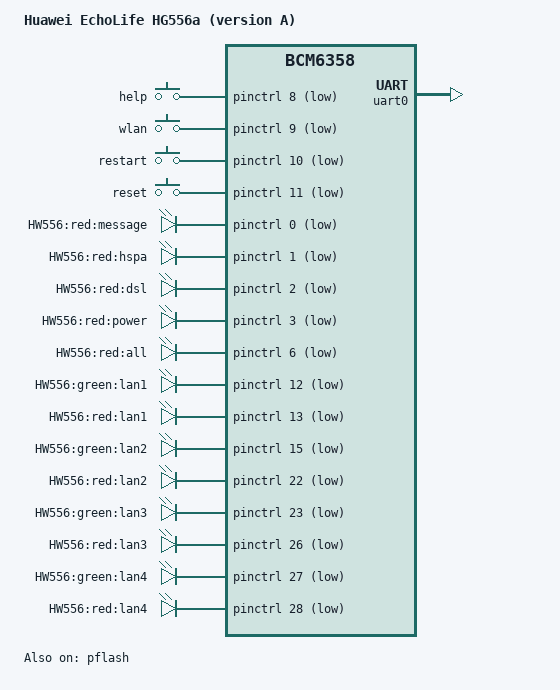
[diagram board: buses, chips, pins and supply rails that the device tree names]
/dts-v1/;

#include "bcm6358.dtsi"

#include <dt-bindings/input/input.h>

/ {
	model = "Huawei EchoLife HG556a (version A)";
	compatible = "huawei,echolife-hg556a-a", "brcm,bcm6358";

	aliases {
		led-boot = &led_power_red;
		led-failsafe = &led_power_red;
		led-running = &led_power_red;
		led-upgrade = &led_power_red;
	};

	chosen {
		bootargs = "rootfstype=squashfs,jffs2 noinitrd console=ttyS0,115200";
		stdout-path = "serial0:115200n8";
	};

	keys {
		compatible = "gpio-keys-polled";
		#address-cells = <1>;
		#size-cells = <0>;
		poll-interval = <20>;

		help {
			label = "help";
			gpios = <&pinctrl 8 1>;
			linux,code = <KEY_HELP>;
			debounce-interval = <60>;
		};

		wlan {
			label = "wlan";
			gpios = <&pinctrl 9 1>;
			linux,code = <KEY_WLAN>;
			debounce-interval = <60>;
		};

		restart {
			label = "restart";
			gpios = <&pinctrl 10 1>;
			linux,code = <KEY_RESTART>;
			debounce-interval = <60>;
		};

		reset {
			label = "reset";
			gpios = <&pinctrl 11 1>;
			linux,code = <KEY_CONFIG>;
			debounce-interval = <60>;
		};
	};

	leds {
		compatible = "gpio-leds";

		message_red {
			label = "HW556:red:message";
			gpios = <&pinctrl 0 1>;
		};
		hspa_red {
			label = "HW556:red:hspa";
			gpios = <&pinctrl 1 1>;
		};
		dsl_red {
			label = "HW556:red:dsl";
			gpios = <&pinctrl 2 1>;
		};
		led_power_red: power_red {
			label = "HW556:red:power";
			gpios = <&pinctrl 3 1>;
			default-state = "on";
		};
		all_red {
			label = "HW556:red:all";
			gpios = <&pinctrl 6 1>;
			default-state = "on";
		};
		lan1_green {
			label = "HW556:green:lan1";
			gpios = <&pinctrl 12 1>;
		};
		lan1_red {
			label = "HW556:red:lan1";
			gpios = <&pinctrl 13 1>;
		};
		lan2_green {
			label = "HW556:green:lan2";
			gpios = <&pinctrl 15 1>;
		};
		lan2_red {
			label = "HW556:red:lan2";
			gpios = <&pinctrl 22 1>;
		};
		lan3_green {
			label = "HW556:green:lan3";
			gpios = <&pinctrl 23 1>;
		};
		lan3_red {
			label = "HW556:red:lan3";
			gpios = <&pinctrl 26 1>;
		};
		lan4_green {
			label = "HW556:green:lan4";
			gpios = <&pinctrl 27 1>;
		};
		lan4_red {
			label = "HW556:red:lan4";
			gpios = <&pinctrl 28 1>;
		};
	};
};

&pflash {
	status = "okay";

	partitions {
		compatible = "fixed-partitions";
		#address-cells = <1>;
		#size-cells = <1>;

		cfe@0 {
			label = "CFE";
			reg = <0x000000 0x020000>;
			read-only;
		};

		linux@20000 {
			label = "linux";
			reg = <0x020000 0xec0000>;
			compatible = "brcm,bcm963xx-imagetag";
		};

		cal_data@ee0000 {
			label = "cal_data";
			reg = <0xee0000 0x100000>;
			read-only;
		};

		nvram@fe0000 {
			label = "nvram";
			reg = <0xfe0000 0x020000>;
		};
	};
};

&uart0 {
	status = "okay";
};
